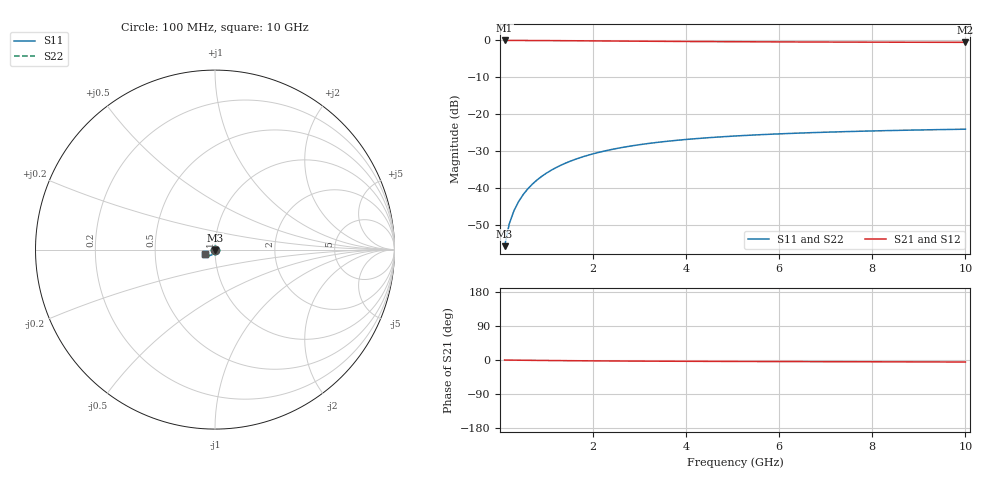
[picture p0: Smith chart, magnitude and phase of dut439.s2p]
! Touchstone file exported from HFSS 2024.1.0
!  File:  C:/UserFiles/LocalFiles/RDL_TSV_Batchsim/temp_TSV1_439_1779695073.aedt
!  Generated:  03:50:17 PM May 25, 2026
!  Design:  TSV1
!  Project:  temp_TSV1_439_1779695073
!  Setup:  Setup1
!  Solution:  Sweep
! Variables:
!  dtsv = 12.84um
!  hbump = 3um
!  htsv = 80.6um
!  lrdl = 252.1521522um
!  p = 40
!  p1 = 42.75um
!  t = 500um
!  trdl = 3um
!  wrdl = 24.89489489um
# GHz S MA R 50.000000
! Terminal data exported
! Port[1] = TSV22_T1
! Port[2] = TSV22_T2
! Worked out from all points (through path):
!   100 points, 100 MHz to 10 GHz, reference 50 ohm
!   highest |S21| = 0.00 dB at 100 MHz (marker M1); lowest = -0.5 dB at 10 GHz (marker M2)
!   lowest |S11| = -55.6 dB at 100 MHz (marker M3), VSWR 1.00, Z = 50 - j0.165 ohm
!   |S11| at or under -10 dB: start of sweep to end of sweep
!   |S22| runs from -55.6 to -24.0 dB; largest |S21 - S12| = 2.1e-15
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0.1  0.001652 -88.2  0.9999 -0.1  0.9999 -0.1  0.001652 -88.2
! Gamma 0 0 0 0
! Port Impedance 50 0 50 0
0.2  0.003311 -91.1  0.9997 -0.3  0.9997 -0.3  0.003311 -91.1
0.3  0.004968 -93.1  0.9995 -0.4  0.9995 -0.4  0.004968 -93.1
0.4  0.006616 -94.9  0.9992 -0.5  0.9992 -0.5  0.006616 -94.9
0.5  0.008249 -96.6  0.9988 -0.7  0.9988 -0.7  0.008249 -96.6
0.6  0.009864 -98.2  0.9983 -0.8  0.9983 -0.8  0.009864 -98.2
0.7  0.01146 -99.7  0.9978 -0.9  0.9978 -0.9  0.01146 -99.7
0.8  0.01303 -101.2  0.9972 -1.0  0.9972 -1.0  0.01303 -101.2
0.9  0.01457 -102.7  0.9965 -1.2  0.9965 -1.2  0.01457 -102.7
1.1  0.01756 -105.5  0.995 -1.4  0.995 -1.4  0.01756 -105.5
1.4  0.0218 -109.6  0.9924 -1.7  0.9924 -1.7  0.0218 -109.6
1.6  0.02445 -112.1  0.9906 -1.9  0.9906 -1.9  0.02445 -112.1
1.8  0.02694 -114.5  0.9886 -2.1  0.9886 -2.1  0.02694 -114.5
2.1  0.03041 -117.9  0.9857 -2.3  0.9857 -2.3  0.03041 -117.9
2.5  0.03453 -122.1  0.9817 -2.6  0.9817 -2.6  0.03453 -122.1
2.9  0.03812 -125.8  0.9779 -2.9  0.9779 -2.9  0.03812 -125.8
3.4  0.04197 -129.8  0.9734 -3.1  0.9734 -3.1  0.04197 -129.8
4.2  0.04694 -135.3  0.967 -3.5  0.967 -3.5  0.04694 -135.3
5.1  0.05123 -140.2  0.9611 -3.8  0.9611 -3.8  0.05123 -140.2
6.7  0.05665 -146.8  0.953 -4.3  0.953 -4.3  0.05665 -146.8
8.4  0.06052 -151.9  0.947 -4.8  0.947 -4.8  0.06052 -151.9
10  0.06308 -155.6  0.943 -5.3  0.943 -5.3  0.06308 -155.5
